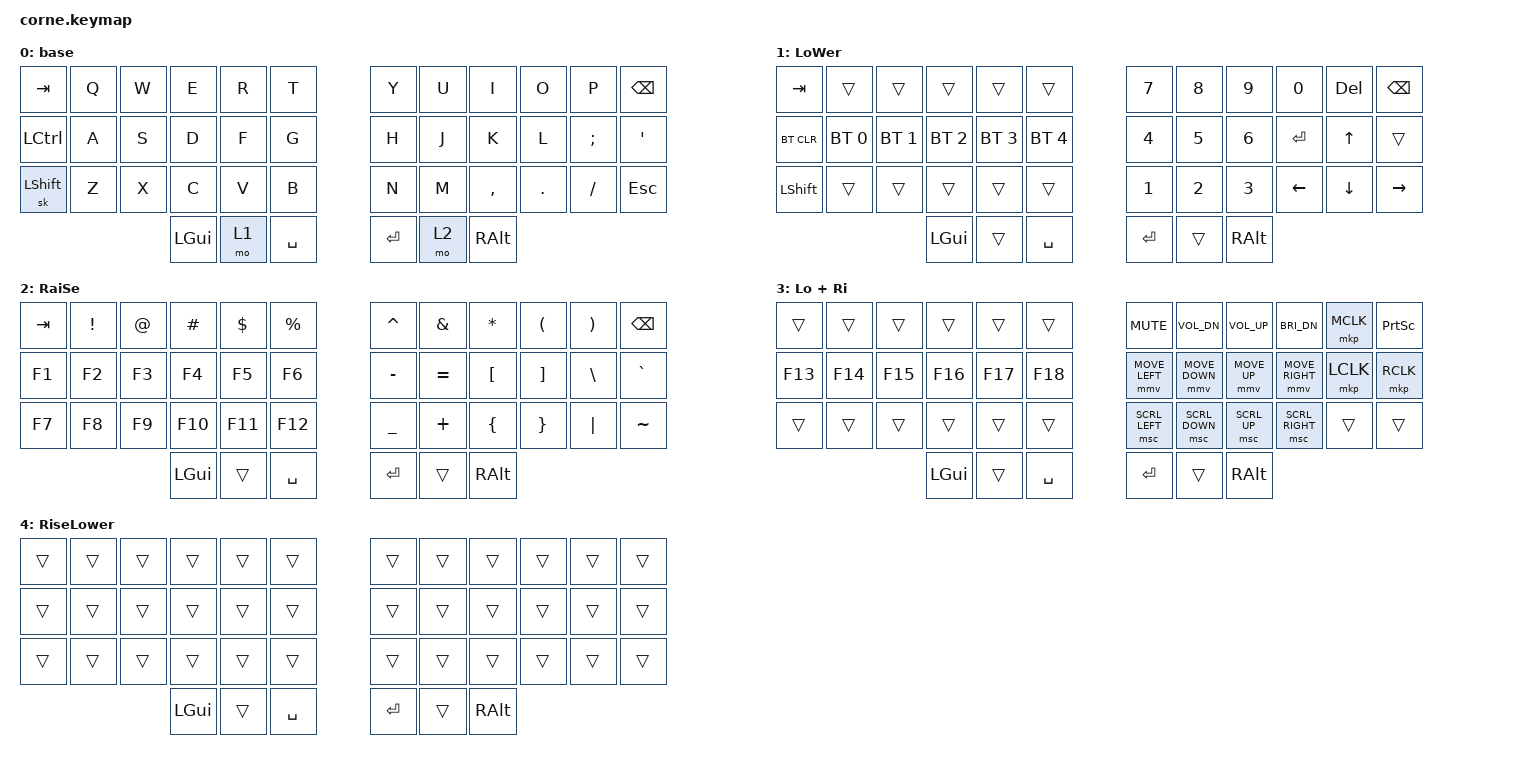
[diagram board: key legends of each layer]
/*
 * Copyright (c) 2020 The ZMK Contributors
 *
 * SPDX-License-Identifier: MIT
 */

#include <behaviors.dtsi>
#include <dt-bindings/zmk/keys.h>
#include <dt-bindings/zmk/bt.h>
#include <dt-bindings/zmk/pointing.h>


    // ╭────┬────┬────┬────┬────┬────╮ ╭────┬────┬────┬────┬────┬────╮
    // │ 01 │ 02 │ 03 │ 04 │ 05 │ 06 │ │ 07 │ 08 │ 09 │ 10 │ 11 │ 12 │
    // ├────┼────┼────┼────┼────┼────┤ ├────┼────┼────┼────┼────┼────┤
    // │ 13 │ 14 │ 15 │ 16 │ 17 │ 18 │ │ 19 │ 20 │ 21 │ 22 │ 23 │ 24 │
    // ├────┼────┼────┼────┼────┼────┤ ├────┼────┼────┼────┼────┼────┤
    // │ 25 │ 26 │ 27 │ 28 │ 29 │ 30 │ │ 31 │ 32 │ 33 │ 34 │ 35 │ 36 │
    // ╰────┴────┴────┼────┼────┼────┤ ├────┼────┼────┼────┴────┴────╯
    //                │ 37 │ 38 │ 39 │ │ 40 │ 41 │ 42 │
    //                ╰────┴────┴────╯ ╰────┴────┴────╯

/ {
    combos {
        compatible = "zmk,combos";

	    combo_lower_raise {
            timeout-ms = <200>;
            key-positions = <37 40>;
            bindings = <&mo 3>;
	    #slow-release;
        };
     };

        keymap {
                compatible = "zmk,keymap";

                default_layer {
                display-name = "base";
// -----------------------------------------------------------------------------------------
// |  TAB |  Q  |  W  |  E  |  R  |  T  |   |  Y  |  U   |  I  |  O  |  P  | BKSP |
// | CTRL |  A  |  S  |  D  |  F  |  G  |   |  H  |  J   |  K  |  L  |  ;  |  '   |
// | SHFT |  Z  |  X  |  C  |  V  |  B  |   |  N  |  M   |  ,  |  .  |  /  | ESC  |
//                    | GUI | LWR | SPC |   | ENT | RSE  | ALT |
  bindings = <
   &kp TAB   &kp Q &kp W &kp E &kp R &kp T   &kp Y &kp U  &kp I     &kp O   &kp P    &kp BSPC
   &kp LCTRL &kp A &kp S &kp D &kp F &kp G   &kp H &kp J  &kp K     &kp L   &kp SEMI &kp SQT
   &sk LSHIFT &kp Z &kp X &kp C &kp V &kp B   &kp N &kp M  &kp COMMA &kp DOT &kp FSLH &kp ESC
                  &kp LGUI &mo 1 &kp SPACE   &kp RET &mo 2 &kp RALT
                        >;
                };
                lower_layer {
                display-name = "LoWer";
// -----------------------------------------------------------------------------------------
// |  TAB |     |     |     |     |     |   |  7  |  8  |  9  |  0  | DEL | BKSP |
// | CTRL | BT1 | BT2 | BT3 | BT4 | BT5 |   |  4  |  5  |  6  |  .  |  UP |      |
// | SHFT |     |     |     |     |     |   |  1  |  2  |  3  | LFT | DWN | RGT  |
//                    | GUI |     | SPC |   | ENT |     | ALT |
                        bindings = <
   &kp TAB    &trans   &trans    &trans &trans &trans                            &kp N7   &kp N8   &kp N9 &kp N0    &kp DEL   &kp BSPC
   &bt BT_CLR &bt BT_SEL 0 &bt BT_SEL 1 &bt BT_SEL 2 &bt BT_SEL 3 &bt BT_SEL 4    &kp N4   &kp N5   &kp N6 &kp RET   &kp UP    &trans
   &kp LSHFT  &trans       &trans       &trans       &trans       &trans         &kp N1   &kp N2   &kp N3 &kp LEFT  &kp DOWN  &kp RIGHT
                                        &kp LGUI     &trans       &kp SPACE      &kp RET  &trans   &kp RALT
                        >;
                };

                raise_layer {
                display-name = "RaiSe";
// -----------------------------------------------------------------------------------------
// |  TAB |  !  |  @  |  #  |  $  |  %  |   |  ^  |  &  |  *  |  (  |  )  | BKSP |
// |  F1  | F2  | F3  | F4  | F5  | F6  |   |  -  |  =  |  [  |  ]  |  \  |  `   |
// |  F7  | F8  | F9  | F10 | F11 | F12 |   |  _  |  +  |  {  |  }  | "|" |  ~   |
//                    | GUI |     | SPC |   | ENT |     | ALT |
                        bindings = <
   &kp  TAB  &kp EXCL &kp AT &kp HASH &kp DLLR &kp PRCNT   &kp CARET &kp AMPS  &kp ASTRK &kp LPAR &kp RPAR &kp BSPC
   &kp F1 &kp F2   &kp F3 &kp F4   &kp F5   &kp F6         &kp MINUS &kp EQUAL &kp LBKT  &kp RBKT &kp BSLH &kp GRAVE
   &kp F7 &kp F8   &kp F9 &kp F10  &kp F11  &kp F12        &kp UNDER &kp PLUS  &kp LBRC  &kp RBRC &kp PIPE &kp TILDE
                          &kp LGUI &trans &kp SPACE        &kp RET   &trans    &kp RALT
                        >;
                };
                lower_raise {
                display-name = "Lo + Ri";
// &mo 3
// -----------------------------------------------------------------------------------------
// |      |     |     |     |     |     |  |C_MUTE|C_VOL_DN|C_VOL_UP|C_BRI_DN|C_BRI_UP|PSCRN|
// |      |     |     |     |     |     |  |  F13 |  F14   |  F15   |  F16   |  F17   | F18 |
// |      |     |     |     |     |     |  |  F19 |  F20   |  F21   |  F22   |  F23   | F24 |
//                    | GUI |     | SPC |  | ENT  |        |   ALT  |
                        bindings = <
&trans &trans &trans &trans &trans &trans               &kp C_MUTE &kp C_VOL_DN &kp C_VOL_UP &kp C_BRI_DN &mkp MCLK &kp PSCRN
&kp F13 &kp F14 &kp F15 &kp F16 &kp F17 &kp F18         &mmv MOVE_LEFT &mmv MOVE_DOWN &mmv MOVE_UP &mmv MOVE_RIGHT &mkp LCLK &mkp RCLK   
&trans &trans &trans &trans &trans &trans               &msc SCRL_LEFT &msc SCRL_DOWN &msc SCRL_UP &msc SCRL_RIGHT &trans &trans 
                  &kp LGUI &trans &kp SPACE             &kp RET  &trans  &kp RALT
                        >;
                };
                rise_lower {
                display-name = "RiseLower";
// &mo 4
// -----------------------------------------------------------------------------------------
// |      |     |     |     |     |     |   |     |     |     |     |     |      |
// |      |     |     |     |     |     |   |     |     |     |     |     |      |
// |      |     |     |     |     |     |   |     |     |     |     |     |      |
//                    | GUI |     | SPC |   | ENT |     | ALT |
                        bindings = <
   &trans &trans &trans &trans &trans &trans         &trans &trans &trans &trans &trans &trans 
   &trans &trans &trans &trans &trans &trans         &trans &trans &trans &trans &trans &trans 
   &trans &trans &trans &trans &trans &trans         &trans &trans &trans &trans &trans &trans 
                &kp LGUI &trans   &kp SPACE           &kp RET   &trans    &kp RALT
                        >;
                };
        };
};
